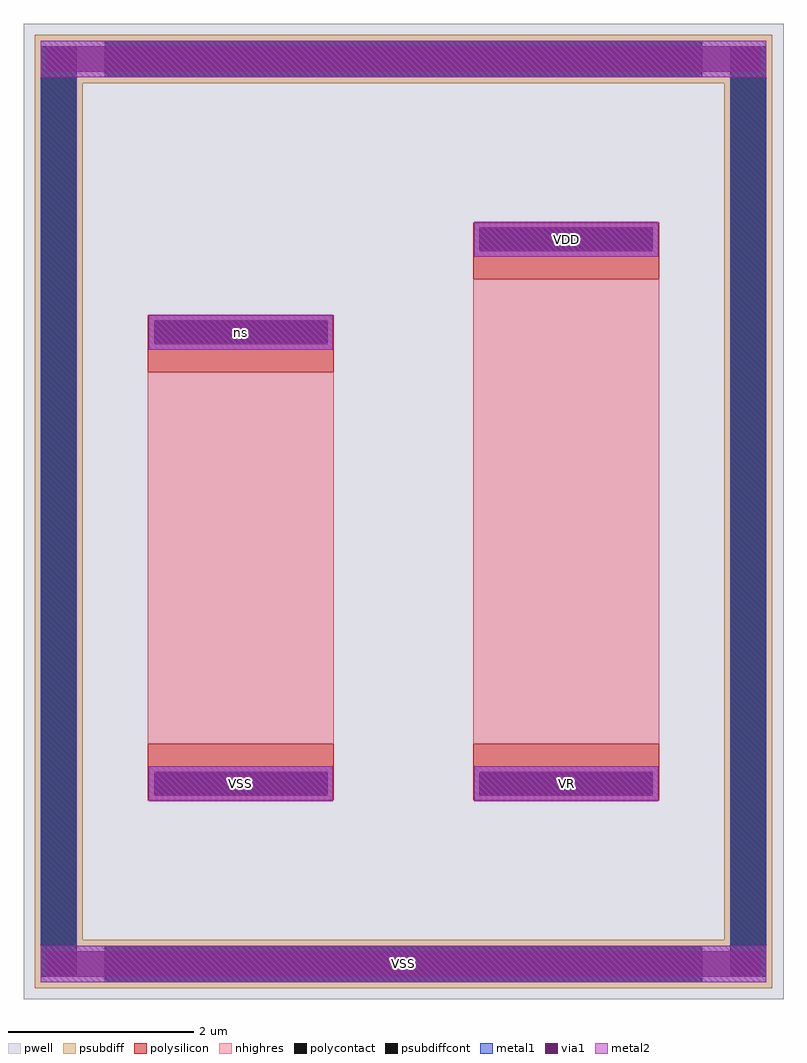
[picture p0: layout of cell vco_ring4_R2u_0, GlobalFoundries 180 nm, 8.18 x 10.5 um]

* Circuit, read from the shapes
.subckt vco_ring4_R2u_0 VSS ns VR VDD
XR1 ns VSS VSS ppolyf_u_1k r_width=2u r_length=4u
XR2 VDD VR VSS ppolyf_u_1k r_width=2u r_length=5u
.ends

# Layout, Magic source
magic
tech gf180mcuD
magscale 1 10
<< pwell >>
rect -468 -464 1168 1636
<< psubdiff >>
rect -444 -440 1144 -336
rect -444 1508 1144 1612
rect -444 -336 -340 1508
rect 1040 -336 1144 1508
<< polysilicon >>
rect -200 886 200 1008
rect -200 -36 200 86
rect 500 1086 900 1208
rect 500 -36 900 86
<< nhighres >>
rect -200 86 200 886
rect 500 86 900 1086
<< psubdiffcont >>
rect -431 -416 -353 1588
rect 1053 -416 1131 1588
rect -293 1521 993 1599
rect -293 -427 993 -349
<< polycontact >>
rect -187 949 187 995
rect -187 -23 187 23
rect 513 1149 887 1195
rect 513 -23 887 23
<< metal1 >>
rect -198 949 198 995
rect -198 -23 198 23
rect 502 1149 898 1195
rect 502 -23 898 23
rect -198 -38 198 38
rect -198 934 198 1010
rect 502 -38 898 38
rect 502 1134 898 1210
rect -431 -427 1131 -349
rect -431 1521 1131 1599
rect -431 -427 -353 1599
rect 1053 -427 1131 1599
rect -431 -427 1131 -349
rect -431 1521 1131 1599
<< metal2 >>
rect -198 -38 198 38
rect -198 934 198 1010
rect 502 -38 898 38
rect 502 1134 898 1210
rect -431 -427 1131 -349
rect -431 1521 1131 1599
<< via1 >>
rect -186 -26 186 26
rect -186 946 186 998
rect 514 -26 886 26
rect 514 1146 886 1198
rect -419 -415 1119 -361
rect -419 1533 1119 1587
<< labels >>
flabel metal2 s -198 -38 198 38 0 FreeSans 80 0 0 0 VSS
port 1 nsew signal bidirectional
flabel metal2 s -198 934 198 1010 0 FreeSans 80 0 0 0 ns
port 2 nsew signal bidirectional
flabel metal2 s 502 -38 898 38 0 FreeSans 80 0 0 0 VR
port 3 nsew signal bidirectional
flabel metal2 s 502 1134 898 1210 0 FreeSans 80 0 0 0 VDD
port 4 nsew signal bidirectional
flabel metal2 s -431 -427 1131 -349 0 FreeSans 80 0 0 0 VSS
port 1 nsew signal bidirectional
<< end >>
